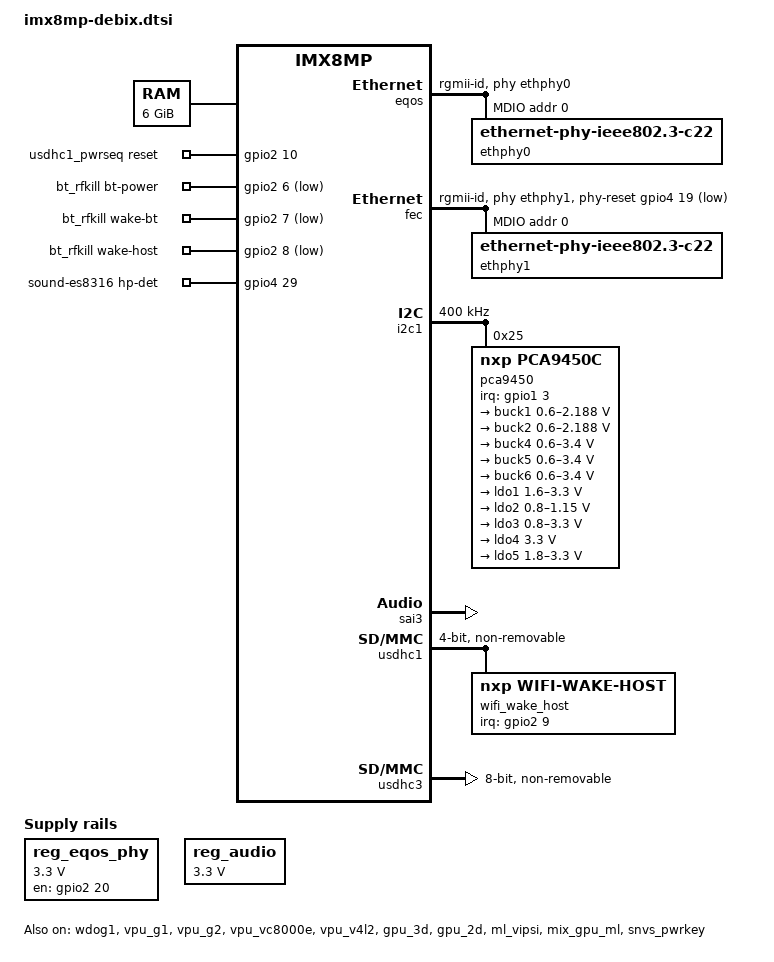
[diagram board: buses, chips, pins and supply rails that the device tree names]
// SPDX-License-Identifier: (GPL-2.0+ OR MIT)
/*
 * Copyright 2019 NXP
 */

/dts-v1/;

#include <dt-bindings/phy/phy-imx8-pcie.h>
#include <dt-bindings/usb/pd.h>
#include "imx8mp.dtsi"

/ {
	compatible = "debix,imx8mp-debix-model-a", "fsl,imx8mp";

	aliases {
		ethernet0 = &eqos;
		ethernet1 = &fec;
	};

	memory@40000000 {
		reg = <0x0 0x40000000 0 0xc0000000>,
		      <0x1 0x00000000 0 0xc0000000>;
	};

	reg_eqos_phy: regulator-eqos-phy {
		compatible = "regulator-fixed";
		regulator-name = "eqos-phy";
		regulator-min-microvolt = <3300000>;
		regulator-max-microvolt = <3300000>;
		regulator-enable-ramp-delay = <20000>;
		gpio = <&gpio2 20 GPIO_ACTIVE_HIGH>;
		enable-active-high;
		regulator-always-on;
	};

	reg_audio: regulator-audio-vdd {
		compatible = "regulator-fixed";
		regulator-name = "wm8904_supply";
		regulator-min-microvolt = <3300000>;
		regulator-max-microvolt = <3300000>;
		regulator-always-on;
	};

	usdhc1_pwrseq: usdhc1_pwrseq {
		compatible = "mmc-pwrseq-simple";
		pinctrl-names = "default";
		pinctrl-0 = <&pinctrl_wlan_reg_on>;  
		reset-gpios = <&gpio2 10 GPIO_ACTIVE_HIGH>;
  	};

	bt_rfkill {
		compatible = "fsl,mxc_bt_rfkill";
		pinctrl-names = "default";
		pinctrl-0 = <&pinctrl_bt_ctrl>;
		bt-power-gpios = <&gpio2 6 GPIO_ACTIVE_LOW>;
		wake-bt-gpios =  <&gpio2 7 GPIO_ACTIVE_LOW>;
		wake-host-gpios = <&gpio2 8 GPIO_ACTIVE_LOW>;
		status ="okay";
	};

	sound-es8316 {
		compatible = "fsl,imx-audio-es8316";
		model = "es8316-audio";
		audio-cpu = <&sai3>;
		audio-codec = <&codec>;
		//audio-asrc = <&easrc>;
		format = "i2s";
		hp-det-gpio = <&gpio4 29 GPIO_ACTIVE_HIGH>;
	//	mic-det-gpio = <&gpio4 29 GPIO_ACTIVE_HIGH>;
		//jack-gpio = <&gpio4 29 GPIO_ACTIVE_HIGH>;
		//audio-widgets = 
			//"Microphone", "Mic Jack",
			//"Headphone", "Headphone Jack";

		audio-routing =
			"Mic Jack", "MIC2",
			//"MIC2", "Mic Jack",
			//"MIC2", "DMIC",
			"Headphone Jack", "HPOL",
			"Headphone Jack", "HPOR";
	};
};

&A53_0 {
	cpu-supply = <&buck2>;
};

&A53_1 {
	cpu-supply = <&buck2>;
};

&A53_2 {
	cpu-supply = <&buck2>;
};

&A53_3 {
	cpu-supply = <&buck2>;
};


&eqos {
	pinctrl-names = "default";
	pinctrl-0 = <&pinctrl_eqos>;
	phy-mode = "rgmii-id";
	phy-handle = <&ethphy0>;
	snps,force_thresh_dma_mode;
	snps,mtl-tx-config = <&mtl_tx_setup>;
	snps,mtl-rx-config = <&mtl_rx_setup>;
	snps,reset-gpios = <&gpio4 18 GPIO_ACTIVE_LOW>;
	snps,reset-delays-us = <10 20 200000>;
	status = "okay";

	mdio {
		compatible = "snps,dwmac-mdio";
		#address-cells = <1>;
		#size-cells = <0>;

		ethphy0: ethernet-phy@0 {
			compatible = "ethernet-phy-ieee802.3-c22";
			reg = <0>;
			// eee-broken-1000t;
			// reset-gpios = <&gpio4 22 GPIO_ACTIVE_LOW>;
			// reset-assert-us = <10000>;
			// reset-deassert-us = <80000>;
			// realtek,clkout-disable;
			at803x,led-act-blind-workaround;
			at803x,eee-disabled;
			at803x,vddio-1p8v;
		};
	};

	mtl_tx_setup: tx-queues-config {
		snps,tx-queues-to-use = <5>;
		snps,tx-sched-sp;

		queue0 {
			snps,dcb-algorithm;
			snps,priority = <0x1>;
		};

		queue1 {
			snps,dcb-algorithm;
			snps,priority = <0x2>;
		};

		queue2 {
			snps,dcb-algorithm;
			snps,priority = <0x4>;
		};

		queue3 {
			snps,dcb-algorithm;
			snps,priority = <0x8>;
		};

		queue4 {
			snps,dcb-algorithm;
			snps,priority = <0xf0>;
		};
	};

	mtl_rx_setup: rx-queues-config {
		snps,rx-queues-to-use = <5>;
		snps,rx-sched-sp;

		queue0 {
			snps,dcb-algorithm;
			snps,priority = <0x1>;
			snps,map-to-dma-channel = <0>;
		};

		queue1 {
			snps,dcb-algorithm;
			snps,priority = <0x2>;
			snps,map-to-dma-channel = <1>;
		};

		queue2 {
			snps,dcb-algorithm;
			snps,priority = <0x4>;
			snps,map-to-dma-channel = <2>;
		};

		queue3 {
			snps,dcb-algorithm;
			snps,priority = <0x8>;
			snps,map-to-dma-channel = <3>;
		};

		queue4 {
			snps,dcb-algorithm;
			snps,priority = <0xf0>;
			snps,map-to-dma-channel = <4>;
		};
	};
};

&fec {
	pinctrl-names = "default";
	pinctrl-0 = <&pinctrl_fec>;
	phy-mode = "rgmii-id";
	phy-handle = <&ethphy1>;
	fsl,magic-packet;
	fsl,rgmii_rxc_dly;
	phy-reset-gpios = <&gpio4 19 GPIO_ACTIVE_LOW>;
	phy-reset-duration = <10>;
	phy-reset-post-delay = <150>;
	status = "okay";

	mdio {
		#address-cells = <1>;
		#size-cells = <0>;

		ethphy1: ethernet-phy@0 {
			compatible = "ethernet-phy-ieee802.3-c22";
			reg = <0>;
			// eee-broken-1000t;
			// reset-gpios = <&gpio4 2 GPIO_ACTIVE_LOW>;
			// reset-assert-us = <10000>;
			// reset-deassert-us = <80000>;
			// realtek,aldps-enable;
			// realtek,clkout-disable;
			at803x,led-act-blind-workaround;
			at803x,eee-disabled;
			at803x,vddio-1p8v;
		};
	};
};

&i2c1 {
	clock-frequency = <400000>;
	pinctrl-names = "default";
	pinctrl-0 = <&pinctrl_i2c1>;
	status = "okay";

	pca9450@25 {
		reg = <0x25>;
		compatible = "nxp,pca9450c";
		pinctrl-names = "default";
		pinctrl-0 = <&pinctrl_pmic>;
		interrupt-parent = <&gpio1>;
		interrupts = <3 IRQ_TYPE_LEVEL_LOW>;
		status = "okay";

		regulators {
			#address-cells = <1>;
			#size-cells = <0>;

			buck1: BUCK1 {
				regulator-name = "BUCK1";
				regulator-min-microvolt = <600000>;
				regulator-max-microvolt = <2187500>;
				regulator-boot-on;
				regulator-always-on;
				regulator-ramp-delay = <3125>;
			};

			buck2: BUCK2 {
				regulator-name = "BUCK2";
				regulator-min-microvolt = <600000>;
				regulator-max-microvolt = <2187500>;
				regulator-boot-on;
				regulator-always-on;
				regulator-ramp-delay = <3125>;
				nxp,dvs-run-voltage = <950000>;
				nxp,dvs-standby-voltage = <850000>;
			};

			buck4: BUCK4 {
				regulator-name = "BUCK4";
				regulator-min-microvolt = <600000>;
				regulator-max-microvolt = <3400000>;
				regulator-boot-on;
				regulator-always-on;
			};

			buck5: BUCK5 {
				regulator-name = "BUCK5";
				regulator-min-microvolt = <600000>;
				regulator-max-microvolt = <3400000>;
				regulator-boot-on;
				regulator-always-on;
			};

			buck6: BUCK6 {
				regulator-name = "BUCK6";
				regulator-min-microvolt = <600000>;
				regulator-max-microvolt = <3400000>;
				regulator-boot-on;
				regulator-always-on;
			};

			ldo1: LDO1 {
				regulator-name = "LDO1";
				regulator-min-microvolt = <1600000>;
				regulator-max-microvolt = <3300000>;
				regulator-boot-on;
				regulator-always-on;
			};

			ldo2: LDO2 {
				regulator-name = "LDO2";
				regulator-min-microvolt = <800000>;
				regulator-max-microvolt = <1150000>;
				regulator-boot-on;
				regulator-always-on;
			};

			ldo3: LDO3 {
				regulator-name = "LDO3";
				regulator-min-microvolt = <800000>;
				regulator-max-microvolt = <3300000>;
				regulator-boot-on;
				regulator-always-on;
			};

			ldo4: LDO4 {
				regulator-name = "LDO4";
				regulator-min-microvolt = <3300000>;
				regulator-max-microvolt = <3300000>;
				regulator-always-on;
			};

			ldo5: LDO5 {
				regulator-name = "LDO5";
				regulator-min-microvolt = <1800000>;
				regulator-max-microvolt = <3300000>;
			};
		};
	};
};

&sai3 {
	pinctrl-names = "default";
	pinctrl-0 = <&pinctrl_sai3>;
	assigned-clocks = <&clk IMX8MP_CLK_SAI3>;
	assigned-clock-parents = <&clk IMX8MP_AUDIO_PLL1_OUT>;
	// assigned-clock-rates = <12288000>;
	assigned-clock-rates = <11289600>;
	clocks = <&audio_blk_ctrl IMX8MP_CLK_AUDIOMIX_SAI3_IPG>, <&clk IMX8MP_CLK_DUMMY>,
		 <&audio_blk_ctrl IMX8MP_CLK_AUDIOMIX_SAI3_MCLK1>, <&clk IMX8MP_CLK_DUMMY>,
		 <&clk IMX8MP_CLK_DUMMY>;
	clock-names = "bus", "mclk0", "mclk1", "mclk2", "mclk3";
	fsl,sai-mclk-direction-output;
	status = "okay";
};

&sdma2 {
	status = "okay";
};

/* BT */
&uart4 {
	pinctrl-names = "default";
	pinctrl-0 = <&pinctrl_uart4>;
	status = "disabled";
};

/*WIFI BUS */
&usdhc1 {
	#address-cells = <1>;
	#size-cells = <0>;
	pinctrl-names = "default", "state_100mhz", "state_200mhz";
	pinctrl-0 = <&pinctrl_usdhc1>, <&pinctrl_wlan_wake_host>;
	pinctrl-1 = <&pinctrl_usdhc1_100mhz>, <&pinctrl_wlan_wake_host>;
	pinctrl-2 = <&pinctrl_usdhc1_200mhz>, <&pinctrl_wlan_wake_host>;
	bus-width = <4>;
	max-frequency = <150000000>;
	pm-ignore-notify;
	keep-power-in-suspend;
	non-removable;
	cap-power-off-card;
	/delete-property/ vmmc-supply;
	mmc-pwrseq = <&usdhc1_pwrseq>;
	status = "okay";

	wifi_wake_host {
		compatible = "nxp,wifi-wake-host";
		interrupt-parent = <&gpio2>;
		interrupts = <9 IRQ_TYPE_LEVEL_HIGH>; //wlan wake host
		interrupt-names = "host-wake";
	};
};

/* eMMC */
&usdhc3 {
	pinctrl-names = "default", "state_100mhz", "state_200mhz";
	pinctrl-0 = <&pinctrl_usdhc3>;
	pinctrl-1 = <&pinctrl_usdhc3_100mhz>;
	pinctrl-2 = <&pinctrl_usdhc3_200mhz>;
	bus-width = <8>;
	non-removable;
	status = "okay";
};

&wdog1 {
	pinctrl-names = "default";
	pinctrl-0 = <&pinctrl_wdog>;
	fsl,ext-reset-output;
	status = "okay";
};

&vpu_g1 {
	status = "okay";
};

&vpu_g2 {
	status = "okay";
};

&vpu_vc8000e {
	status = "okay";
};

&vpu_v4l2 {
	status = "okay";
};

&gpu_3d {
	status = "okay";
};

&gpu_2d {
	status = "okay";
};

&ml_vipsi {
	status = "okay";
};

&mix_gpu_ml {
	status = "okay";
};

&snvs_pwrkey {
	status = "okay";
};

&snvs_rtc {
	status = "disabled";
};

&iomuxc {
	pinctrl_eqos: eqosgrp {
		fsl,pins = <
			MX8MP_IOMUXC_ENET_MDC__ENET_QOS_MDC				0x2
			MX8MP_IOMUXC_ENET_MDIO__ENET_QOS_MDIO				0x2
			MX8MP_IOMUXC_ENET_RD0__ENET_QOS_RGMII_RD0			0x90
			MX8MP_IOMUXC_ENET_RD1__ENET_QOS_RGMII_RD1			0x90
			MX8MP_IOMUXC_ENET_RD2__ENET_QOS_RGMII_RD2			0x90
			MX8MP_IOMUXC_ENET_RD3__ENET_QOS_RGMII_RD3			0x90
			MX8MP_IOMUXC_ENET_RXC__CCM_ENET_QOS_CLOCK_GENERATE_RX_CLK	0x90
			MX8MP_IOMUXC_ENET_RX_CTL__ENET_QOS_RGMII_RX_CTL			0x90
			MX8MP_IOMUXC_ENET_TD0__ENET_QOS_RGMII_TD0			0x16
			MX8MP_IOMUXC_ENET_TD1__ENET_QOS_RGMII_TD1			0x16
			MX8MP_IOMUXC_ENET_TD2__ENET_QOS_RGMII_TD2			0x16
			MX8MP_IOMUXC_ENET_TD3__ENET_QOS_RGMII_TD3			0x16
			MX8MP_IOMUXC_ENET_TX_CTL__ENET_QOS_RGMII_TX_CTL			0x16
			MX8MP_IOMUXC_ENET_TXC__CCM_ENET_QOS_CLOCK_GENERATE_TX_CLK	0x16
		//	MX8MP_IOMUXC_SAI2_RXC__GPIO4_IO22				0x10

			MX8MP_IOMUXC_SAI1_RXFS__ENET1_1588_EVENT0_IN    0x16
			MX8MP_IOMUXC_SAI1_RXC__ENET1_1588_EVENT0_OUT    0x16
			MX8MP_IOMUXC_SAI1_TXD6__GPIO4_IO18		0x10
		>;
	};

	pinctrl_fec: fecgrp {
		fsl,pins = <
			MX8MP_IOMUXC_SAI1_RXD2__ENET1_MDC		0x2
			MX8MP_IOMUXC_SAI1_RXD3__ENET1_MDIO		0x2
			MX8MP_IOMUXC_SAI1_RXD4__ENET1_RGMII_RD0		0x90
			MX8MP_IOMUXC_SAI1_RXD5__ENET1_RGMII_RD1		0x90
			MX8MP_IOMUXC_SAI1_RXD6__ENET1_RGMII_RD2		0x90
			MX8MP_IOMUXC_SAI1_RXD7__ENET1_RGMII_RD3		0x90
			MX8MP_IOMUXC_SAI1_TXC__ENET1_RGMII_RXC		0x90
			MX8MP_IOMUXC_SAI1_TXFS__ENET1_RGMII_RX_CTL	0x90
			MX8MP_IOMUXC_SAI1_TXD0__ENET1_RGMII_TD0		0x16
			MX8MP_IOMUXC_SAI1_TXD1__ENET1_RGMII_TD1		0x16
			MX8MP_IOMUXC_SAI1_TXD2__ENET1_RGMII_TD2		0x16
			MX8MP_IOMUXC_SAI1_TXD3__ENET1_RGMII_TD3		0x16
			MX8MP_IOMUXC_SAI1_TXD4__ENET1_RGMII_TX_CTL	0x16
			MX8MP_IOMUXC_SAI1_TXD5__ENET1_RGMII_TXC		0x16
		//	MX8MP_IOMUXC_SAI1_RXD0__GPIO4_IO02		0x10
		
			MX8MP_IOMUXC_SAI1_RXD1__ENET1_1588_EVENT1_OUT   0x16
			MX8MP_IOMUXC_SAI1_RXD0__ENET1_1588_EVENT1_IN    0x16
			MX8MP_IOMUXC_SAI1_TXD7__GPIO4_IO19		0x10
		>;
	};

	pinctrl_i2c1: i2c1grp {
		fsl,pins = <
			MX8MP_IOMUXC_I2C1_SCL__I2C1_SCL					0x400001c2
			MX8MP_IOMUXC_I2C1_SDA__I2C1_SDA					0x400001c2
		>;
	};

	pinctrl_pmic: pmicgrp {
		fsl,pins = <
			MX8MP_IOMUXC_GPIO1_IO03__GPIO1_IO03				0x1c0
		>;
	};

	pinctrl_sai3: sai3grp {
		fsl,pins = <
			MX8MP_IOMUXC_SAI3_TXFS__AUDIOMIX_SAI3_TX_SYNC	0xd6
			MX8MP_IOMUXC_SAI3_TXC__AUDIOMIX_SAI3_TX_BCLK	0xd6
			MX8MP_IOMUXC_SAI3_RXD__AUDIOMIX_SAI3_RX_DATA00	0xd6
			MX8MP_IOMUXC_SAI3_TXD__AUDIOMIX_SAI3_TX_DATA00	0xd6
			MX8MP_IOMUXC_SAI3_MCLK__AUDIOMIX_SAI3_MCLK		0xd6
			MX8MP_IOMUXC_SAI3_RXFS__AUDIOMIX_SAI3_RX_SYNC	0xd6
			MX8MP_IOMUXC_SAI3_RXC__GPIO4_IO29				0x16       // HP Det       
		>;
	};

	pinctrl_uart4: uart4grp {
		fsl,pins = <
			MX8MP_IOMUXC_UART4_RXD__UART4_DCE_RX	0x49
			MX8MP_IOMUXC_UART4_TXD__UART4_DCE_TX	0x49
		>;
	};

	pinctrl_bt_ctrl: bt_ctrl {
		fsl,pins = <
			MX8MP_IOMUXC_SD1_DATA4__GPIO2_IO06        0x41
			MX8MP_IOMUXC_SD1_DATA5__GPIO2_IO07        0x41
			MX8MP_IOMUXC_SD1_DATA6__GPIO2_IO08        0x16
		>;
	};
	//WL_REG_ON
	pinctrl_wlan_reg_on: wlan-reg-on-grp {
		fsl,pins = <
			MX8MP_IOMUXC_SD1_RESET_B__GPIO2_IO10     0x41
		>;
	};
	pinctrl_wlan_wake_host: wlanwakehostgrp {
		fsl,pins = <
			MX8MP_IOMUXC_GPIO1_IO00__ANAMIX_REF_CLK_32K      0x141
      			MX8MP_IOMUXC_SD1_DATA7__GPIO2_IO09                0x111 //WL_WAKE_HOST
		>;
	};

	pinctrl_usdhc1: usdhc1grp {
		fsl,pins = <
			MX8MP_IOMUXC_SD1_CLK__USDHC1_CLK	0x190
			MX8MP_IOMUXC_SD1_CMD__USDHC1_CMD	0x1d0
			MX8MP_IOMUXC_SD1_DATA0__USDHC1_DATA0	0x1d0
			MX8MP_IOMUXC_SD1_DATA1__USDHC1_DATA1	0x1d0
			MX8MP_IOMUXC_SD1_DATA2__USDHC1_DATA2	0x1d0
			MX8MP_IOMUXC_SD1_DATA3__USDHC1_DATA3	0x1d0
		>;
	};

		pinctrl_usdhc1_100mhz: usdhc1grp100mhz {
		fsl,pins = <
			MX8MP_IOMUXC_SD1_CLK__USDHC1_CLK         0x194
			MX8MP_IOMUXC_SD1_CMD__USDHC1_CMD         0x1d4
			MX8MP_IOMUXC_SD1_DATA0__USDHC1_DATA0     0x1d4
			MX8MP_IOMUXC_SD1_DATA1__USDHC1_DATA1     0x1d4
			MX8MP_IOMUXC_SD1_DATA2__USDHC1_DATA2     0x1d4
			MX8MP_IOMUXC_SD1_DATA3__USDHC1_DATA3     0x1d4
		>;
  	};

	pinctrl_usdhc1_200mhz: usdhc1grp200mhz {
		fsl,pins = <
			MX8MP_IOMUXC_SD1_CLK__USDHC1_CLK         0x196
			MX8MP_IOMUXC_SD1_CMD__USDHC1_CMD         0x1d6
			MX8MP_IOMUXC_SD1_DATA0__USDHC1_DATA0     0x1d6
			MX8MP_IOMUXC_SD1_DATA1__USDHC1_DATA1     0x1d6
			MX8MP_IOMUXC_SD1_DATA2__USDHC1_DATA2     0x1d6
			MX8MP_IOMUXC_SD1_DATA3__USDHC1_DATA3     0x1d6
		>;
	};

	pinctrl_usdhc3: usdhc3grp {
		fsl,pins = <
			MX8MP_IOMUXC_NAND_WE_B__USDHC3_CLK	0x190
			MX8MP_IOMUXC_NAND_WP_B__USDHC3_CMD	0x1d0
			MX8MP_IOMUXC_NAND_DATA04__USDHC3_DATA0	0x1d0
			MX8MP_IOMUXC_NAND_DATA05__USDHC3_DATA1	0x1d0
			MX8MP_IOMUXC_NAND_DATA06__USDHC3_DATA2	0x1d0
			MX8MP_IOMUXC_NAND_DATA07__USDHC3_DATA3	0x1d0
			MX8MP_IOMUXC_NAND_RE_B__USDHC3_DATA4	0x1d0
			MX8MP_IOMUXC_NAND_CE2_B__USDHC3_DATA5	0x1d0
			MX8MP_IOMUXC_NAND_CE3_B__USDHC3_DATA6	0x1d0
			MX8MP_IOMUXC_NAND_CLE__USDHC3_DATA7	0x1d0
			MX8MP_IOMUXC_NAND_CE1_B__USDHC3_STROBE	0x190
		>;
	};

	pinctrl_usdhc3_100mhz: usdhc3-100mhzgrp {
		fsl,pins = <
			MX8MP_IOMUXC_NAND_WE_B__USDHC3_CLK	0x194
			MX8MP_IOMUXC_NAND_WP_B__USDHC3_CMD	0x1d4
			MX8MP_IOMUXC_NAND_DATA04__USDHC3_DATA0	0x1d4
			MX8MP_IOMUXC_NAND_DATA05__USDHC3_DATA1	0x1d4
			MX8MP_IOMUXC_NAND_DATA06__USDHC3_DATA2	0x1d4
			MX8MP_IOMUXC_NAND_DATA07__USDHC3_DATA3	0x1d4
			MX8MP_IOMUXC_NAND_RE_B__USDHC3_DATA4	0x1d4
			MX8MP_IOMUXC_NAND_CE2_B__USDHC3_DATA5	0x1d4
			MX8MP_IOMUXC_NAND_CE3_B__USDHC3_DATA6	0x1d4
			MX8MP_IOMUXC_NAND_CLE__USDHC3_DATA7	0x1d4
			MX8MP_IOMUXC_NAND_CE1_B__USDHC3_STROBE	0x194
		>;
	};

	pinctrl_usdhc3_200mhz: usdhc3-200mhzgrp {
		fsl,pins = <
			MX8MP_IOMUXC_NAND_WE_B__USDHC3_CLK	0x196
			MX8MP_IOMUXC_NAND_WP_B__USDHC3_CMD	0x1d6
			MX8MP_IOMUXC_NAND_DATA04__USDHC3_DATA0	0x1d6
			MX8MP_IOMUXC_NAND_DATA05__USDHC3_DATA1	0x1d6
			MX8MP_IOMUXC_NAND_DATA06__USDHC3_DATA2	0x1d6
			MX8MP_IOMUXC_NAND_DATA07__USDHC3_DATA3	0x1d6
			MX8MP_IOMUXC_NAND_RE_B__USDHC3_DATA4	0x1d6
			MX8MP_IOMUXC_NAND_CE2_B__USDHC3_DATA5	0x1d6
			MX8MP_IOMUXC_NAND_CE3_B__USDHC3_DATA6	0x1d6
			MX8MP_IOMUXC_NAND_CLE__USDHC3_DATA7	0x1d6
			MX8MP_IOMUXC_NAND_CE1_B__USDHC3_STROBE	0x196
		>;
	};

	pinctrl_wdog: wdoggrp {
		fsl,pins = <
			MX8MP_IOMUXC_GPIO1_IO02__WDOG1_WDOG_B				0xc6
		>;
	};
};
